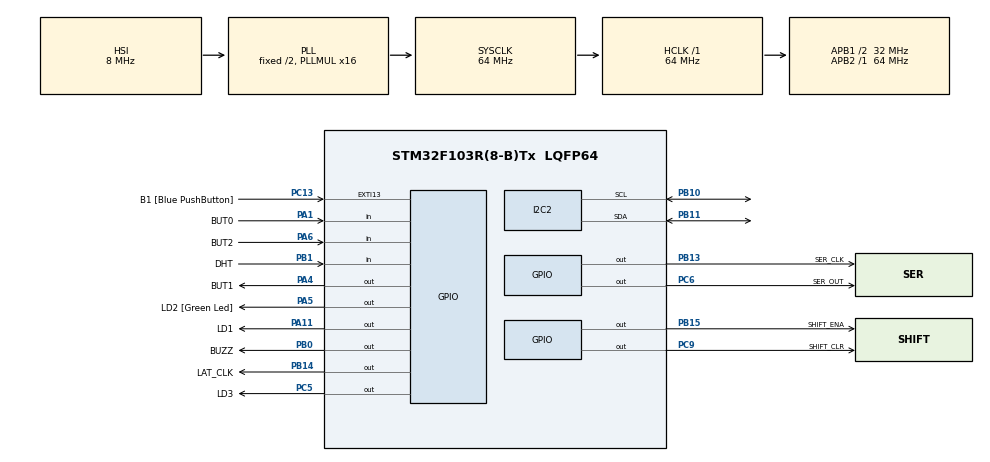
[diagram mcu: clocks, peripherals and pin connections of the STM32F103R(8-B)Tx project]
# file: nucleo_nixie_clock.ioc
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FREERTOS.HEAP_NUMBER=1
FREERTOS.MEMORY_ALLOCATION=2
FREERTOS.Tasks01=defaultTask,0,128,StartDefaultTask,Default,NULL,Dynamic,NULL,NULL;render_tasl,-1,128,render_task_callback,Default,NULL,Dynamic,NULL,NULL;buttons_listene,0,128,buttons_listener_callback,Default,NULL,Dynamic,NULL,NULL
FREERTOS.configMINIMAL_STACK_SIZE=64
FREERTOS.configTIMER_TASK_PRIORITY=4
FREERTOS.configTOTAL_HEAP_SIZE=10000
FREERTOS.configUSE_TIMERS=1
Mcu.Family=STM32F1
Mcu.Name=STM32F103R(8-B)Tx
Mcu.Package=LQFP64
NVIC.EXTI15_10_IRQn=true\:5\:0\:false\:false\:true\:true\:true
NVIC.PriorityGroup=NVIC_PRIORITYGROUP_4
NVIC.TIM1_UP_IRQn=true\:0\:0\:false\:false\:true\:false\:false
NVIC.TimeBase=TIM1_UP_IRQn
NVIC.TimeBaseIP=TIM1
PA1.GPIO_Label=BUT0
PA1.Signal=GPIO_Input
PA11.GPIO_Label=LD1
PA11.Signal=GPIO_Output
PA13.GPIO_Label=TMS
PA13.Mode=Serial_Wire
PA13.Signal=SYS_JTMS-SWDIO
PA14.GPIO_Label=TCK
PA14.Mode=Serial_Wire
PA14.Signal=SYS_JTCK-SWCLK
PA2.GPIO_Label=USART_TX
PA2.GPIO_Mode=GPIO_MODE_AF_PP
PA2.GPIO_PuPd=GPIO_NOPULL
PA2.GPIO_Speed=GPIO_SPEED_FREQ_LOW
PA2.Signal=USART2_TX
PA3.Signal=USART2_RX
PA4.GPIO_Label=BUT1
PA4.Signal=GPIO_Output
PA5.GPIO_Label=LD2 [Green Led]
PA5.GPIO_ModeDefaultOutputPP=GPIO_MODE_OUTPUT_PP
PA5.GPIO_PuPd=GPIO_NOPULL
PA5.GPIO_Speed=GPIO_SPEED_FREQ_LOW
PA5.Signal=GPIO_Output
PA6.GPIO_Label=BUT2
PA6.Signal=GPIO_Input
PB0.GPIO_Label=BUZZ
PB0.Signal=GPIO_Output
PB1.GPIO_Label=DHT
PB1.Signal=GPIO_Input
PB10.Mode=I2C
PB10.Signal=I2C2_SCL
PB11.Mode=I2C
PB11.Signal=I2C2_SDA
PB13.GPIO_Label=SER_CLK
PB13.Signal=GPIO_Output
PB14.GPIO_Label=LAT_CLK
PB14.Signal=GPIO_Output
PB15.GPIO_Label=SHIFT_ENA
PB15.Signal=GPIO_Output
PB3.GPIO_Label=SWO
PB3.Signal=SYS_JTDO-TRACESWO
PC13-TAMPER-RTC.GPIO_Label=B1 [Blue PushButton]
PC13-TAMPER-RTC.GPIO_ModeDefaultEXTI=GPIO_MODE_IT_FALLING
PC13-TAMPER-RTC.GPIO_PuPd=GPIO_NOPULL
PC13-TAMPER-RTC.Signal=GPXTI13
PC14-OSC32_IN.Signal=RCC_OSC32_IN
PC15-OSC32_OUT.Signal=RCC_OSC32_OUT
PC5.GPIO_Label=LD3
PC5.Signal=GPIO_Output
PC6.GPIO_Label=SER_OUT
PC6.Signal=GPIO_Output
PC9.GPIO_Label=SHIFT_CLR
PC9.Signal=GPIO_Output
PD0-OSC_IN.Signal=RCC_OSC_IN
PD1-OSC_OUT.Signal=RCC_OSC_OUT
ProjectManager.HeapSize=0x200
ProjectManager.StackSize=0x400
ProjectManager.TargetToolchain=SW4STM32
RCC.AHBFreq_Value=64000000
RCC.APB1CLKDivider=RCC_HCLK_DIV2
RCC.APB1Freq_Value=32000000
RCC.APB1TimFreq_Value=64000000
RCC.APB2Freq_Value=64000000
RCC.APB2TimFreq_Value=64000000
RCC.HCLKFreq_Value=64000000
RCC.PLLMUL=RCC_PLL_MUL16
RCC.SYSCLKFreq_VALUE=64000000
RCC.SYSCLKSource=RCC_SYSCLKSOURCE_PLLCLK
RCC.USBFreq_Value=64000000
VP_FREERTOS_VS_ENABLE.Mode=Enabled
VP_SYS_VS_tim1.Mode=TIM1
board=NUCLEO-F103RB

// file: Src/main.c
/**
  ******************************************************************************
  * File Name          : main.c
  * Description        : Main program body
  ******************************************************************************
  * This notice applies to any and all portions of this file
  * that are not between comment pairs USER CODE BEGIN and
  * USER CODE END. Other portions of this file, whether
  * inserted by the user or by software development tools
  * are owned by their respective copyright owners.
  *
  * Copyright (c) 2017 STMicroelectronics International N.V.
  * All rights reserved.
  *
  * Redistribution and use in source and binary forms, with or without
  * modification, are permitted, provided that the following conditions are met:
  *
  * 1. Redistribution of source code must retain the above copyright notice,
  *    this list of conditions and the following disclaimer.
  * 2. Redistributions in binary form must reproduce the above copyright notice,
  *    this list of conditions and the following disclaimer in the documentation
  *    and/or other materials provided with the distribution.
  * 3. Neither the name of STMicroelectronics nor the names of other
  *    contributors to this software may be used to endorse or promote products
  *    derived from this software without specific written permission.
  * 4. This software, including modifications and/or derivative works of this
  *    software, must execute solely and exclusively on microcontroller or
  *    microprocessor devices manufactured by or for STMicroelectronics.
  * 5. Redistribution and use of this software other than as permitted under
  *    this license is void and will automatically terminate your rights under
  *    this license.
  *
  * THIS SOFTWARE IS PROVIDED BY STMICROELECTRONICS AND CONTRIBUTORS "AS IS"
  * AND ANY EXPRESS, IMPLIED OR STATUTORY WARRANTIES, INCLUDING, BUT NOT
  * LIMITED TO, THE IMPLIED WARRANTIES OF MERCHANTABILITY, FITNESS FOR A
  * PARTICULAR PURPOSE AND NON-INFRINGEMENT OF THIRD PARTY INTELLECTUAL PROPERTY
  * RIGHTS ARE DISCLAIMED TO THE FULLEST EXTENT PERMITTED BY LAW. IN NO EVENT
  * SHALL STMICROELECTRONICS OR CONTRIBUTORS BE LIABLE FOR ANY DIRECT, INDIRECT,
  * INCIDENTAL, SPECIAL, EXEMPLARY, OR CONSEQUENTIAL DAMAGES (INCLUDING, BUT NOT
  * LIMITED TO, PROCUREMENT OF SUBSTITUTE GOODS OR SERVICES; LOSS OF USE, DATA,
  * OR PROFITS; OR BUSINESS INTERRUPTION) HOWEVER CAUSED AND ON ANY THEORY OF
  * LIABILITY, WHETHER IN CONTRACT, STRICT LIABILITY, OR TORT (INCLUDING
  * NEGLIGENCE OR OTHERWISE) ARISING IN ANY WAY OUT OF THE USE OF THIS SOFTWARE,
  * EVEN IF ADVISED OF THE POSSIBILITY OF SUCH DAMAGE.
  *
  ******************************************************************************
  */
#include "main.h"
#include "stm32f1xx_hal.h"
#include "cmsis_os.h"

/* USER CODE BEGIN Includes */
//EXTERNS
#include "externs.h"
//TIMERS
#include "my_timers.h"
//RTC
#include "ds3231.h"
//LCD
#include "ssd1306.h"
#include "render.h"
//BUTTONS
#include "buttons.h"
/* USER CODE END Includes */

I2C_HandleTypeDef hi2c2;

osThreadId defaultTaskHandle;
osThreadId render_taslHandle;
osThreadId buttons_listeneHandle;

/* USER CODE BEGIN PV */
/* Private variables ---------------------------------------------------------*/
//TASKS
osThreadId ButtonListenerTaskHandle;
osThreadId ScreenRenderTaskHandle;

//TIMERS
osTimerId set_blink_timerHandle;
TimerHandle_t blink_timer;
osSemaphoreId set_blink_semaphoreHandle;

//LCD
SSD1306_device_t* LCD;
/* USER CODE END PV */

void SystemClock_Config(void);
static void MX_GPIO_Init(void);
static void MX_I2C2_Init(void);
void StartDefaultTask(void const * argument);
void render_task_callback(void const * argument);
void buttons_listener_callback(void const * argument);

/* USER CODE BEGIN PFP */
/* Private function prototypes -----------------------------------------------*/

/* USER CODE END PFP */

int main(void)
{

  /* MCU Configuration----------------------------------------------------------*/

  /* Reset of all peripherals, Initializes the Flash interface and the Systick. */
  HAL_Init();

  /* Configure the system clock */
  SystemClock_Config();

  /* Initialize all configured peripherals */
  MX_GPIO_Init();
  MX_I2C2_Init();

  /* USER CODE BEGIN 2 */

  //RTC
	ds3231_time_t testTime = {
		.twelve_hour = TRUE,
		.sec = 55,
		.min = 59,
		.hour = 11,
		.pm = PM,
		.week_day = 5,
		.date = 31,
		.month = 12,
		.year = 2017
	};
	DS3231_set_time(&hi2c2, &testTime);

	HAL_Delay(2000);

	ds3231_time_t test_return_time;

	DS3231_get_time(&hi2c2, &test_return_time);

	//LCD
	SSD1306_device_init_t LCD_init_dev =
		{ .background = White, .width = 128, .height = 64, .port = &hi2c2, .font =
				&Font_11x18, };
	LCD = ssd1306_init(&LCD_init_dev);

	LCD->clear_wo_update(LCD);
	LCD->cursor(LCD, 23, 23);
	LCD->string(LCD, "supppp");
	LCD->update(LCD);

	//BUTTONS
//	ButtonsInit();

  /* USER CODE END 2 */

  /* USER CODE BEGIN RTOS_SEMAPHORES */
  /* add semaphores, ... */
	  osSemaphoreDef(set_blink_semaphore);
	  set_blink_semaphoreHandle = osSemaphoreCreate(osSemaphore(set_blink_semaphore), 1);
  /* USER CODE END RTOS_SEMAPHORES */

  /* USER CODE BEGIN RTOS_TIMERS */
  /* start timers, add new ones, ... */
//	osTimerDef(set_blink_timer, set_blink_timer_callback);
//	set_blink_timerHandle = osTimerCreate(osTimer(set_blink_timer), osTimerPeriodic, NULL);
//
//	blink_timer = xTimerCreate("blinkTimer", 1000, pdTRUE, 1, set_blink_timer_callback);
//	xTimerStart(blink_timer,0);
  /* USER CODE END RTOS_TIMERS */

  /* Create the thread(s) */
  /* definition and creation of defaultTask */
  osThreadDef(defaultTask, StartDefaultTask, osPriorityNormal, 0, 128);
  defaultTaskHandle = osThreadCreate(osThread(defaultTask), NULL);

  /* definition and creation of render_tasl */
  osThreadDef(render_tasl, render_task_callback, osPriorityBelowNormal, 0, 128);
  render_taslHandle = osThreadCreate(osThread(render_tasl), NULL);

  /* definition and creation of buttons_listene */
  osThreadDef(buttons_listene, buttons_listener_callback, osPriorityNormal, 0, 128);
  buttons_listeneHandle = osThreadCreate(osThread(buttons_listene), NULL);

  /* USER CODE BEGIN RTOS_THREADS */
  /* add threads, ... */
//	osThreadDef(ButtonListener, ButtonListenerTask, osPriorityLow, 0, 56);
//	ButtonListenerTaskHandle = osThreadCreate(osThread(ButtonListener), NULL);

//	osThreadDef(ScreenRender, ScreenRenderTask, osPriorityNormal, 0, 12);
//	ScreenRenderTaskHandle = osThreadCreate(osThread(ScreenRender), NULL);
  /* USER CODE END RTOS_THREADS */

  /* Start scheduler */
  osKernelStart();

  /* We should never get here as control is now taken by the scheduler */

  /* Infinite loop */
  while (1)
  {

  }

}

/** System Clock Configuration
*/
void SystemClock_Config(void)
{

  RCC_OscInitTypeDef RCC_OscInitStruct;
  RCC_ClkInitTypeDef RCC_ClkInitStruct;

    /**Initializes the CPU, AHB and APB busses clocks
    */
  RCC_OscInitStruct.OscillatorType = RCC_OSCILLATORTYPE_HSI;
  RCC_OscInitStruct.HSIState = RCC_HSI_ON;
  RCC_OscInitStruct.HSICalibrationValue = 16;
  RCC_OscInitStruct.PLL.PLLState = RCC_PLL_ON;
  RCC_OscInitStruct.PLL.PLLSource = RCC_PLLSOURCE_HSI_DIV2;
  RCC_OscInitStruct.PLL.PLLMUL = RCC_PLL_MUL16;
  if (HAL_RCC_OscConfig(&RCC_OscInitStruct) != HAL_OK)
  {
    _Error_Handler(__FILE__, __LINE__);
  }

    /**Initializes the CPU, AHB and APB busses clocks
    */
  RCC_ClkInitStruct.ClockType = RCC_CLOCKTYPE_HCLK|RCC_CLOCKTYPE_SYSCLK
                              |RCC_CLOCKTYPE_PCLK1|RCC_CLOCKTYPE_PCLK2;
  RCC_ClkInitStruct.SYSCLKSource = RCC_SYSCLKSOURCE_PLLCLK;
  RCC_ClkInitStruct.AHBCLKDivider = RCC_SYSCLK_DIV1;
  RCC_ClkInitStruct.APB1CLKDivider = RCC_HCLK_DIV2;
  RCC_ClkInitStruct.APB2CLKDivider = RCC_HCLK_DIV1;

  if (HAL_RCC_ClockConfig(&RCC_ClkInitStruct, FLASH_LATENCY_2) != HAL_OK)
  {
    _Error_Handler(__FILE__, __LINE__);
  }

    /**Configure the Systick interrupt time
    */
  HAL_SYSTICK_Config(HAL_RCC_GetHCLKFreq()/1000);

    /**Configure the Systick
    */
  HAL_SYSTICK_CLKSourceConfig(SYSTICK_CLKSOURCE_HCLK);

  /* SysTick_IRQn interrupt configuration */
  HAL_NVIC_SetPriority(SysTick_IRQn, 15, 0);
}

/* I2C2 init function */
static void MX_I2C2_Init(void)
{

  hi2c2.Instance = I2C2;
  hi2c2.Init.ClockSpeed = 100000;
  hi2c2.Init.DutyCycle = I2C_DUTYCYCLE_2;
  hi2c2.Init.OwnAddress1 = 0;
  hi2c2.Init.AddressingMode = I2C_ADDRESSINGMODE_7BIT;
  hi2c2.Init.DualAddressMode = I2C_DUALADDRESS_DISABLE;
  hi2c2.Init.OwnAddress2 = 0;
  hi2c2.Init.GeneralCallMode = I2C_GENERALCALL_DISABLE;
  hi2c2.Init.NoStretchMode = I2C_NOSTRETCH_DISABLE;
  if (HAL_I2C_Init(&hi2c2) != HAL_OK)
  {
    _Error_Handler(__FILE__, __LINE__);
  }

}

/** Configure pins as
        * Analog
        * Input
        * Output
        * EVENT_OUT
        * EXTI
     PA2   ------> USART2_TX
     PA3   ------> USART2_RX
*/
static void MX_GPIO_Init(void)
{

  GPIO_InitTypeDef GPIO_InitStruct;

  /* GPIO Ports Clock Enable */
  __HAL_RCC_GPIOC_CLK_ENABLE();
  __HAL_RCC_GPIOD_CLK_ENABLE();
  __HAL_RCC_GPIOA_CLK_ENABLE();
  __HAL_RCC_GPIOB_CLK_ENABLE();

  /*Configure GPIO pin Output Level */
  HAL_GPIO_WritePin(GPIOA, BUT1_Pin|LD2_Pin|LD1_Pin, GPIO_PIN_RESET);

  /*Configure GPIO pin Output Level */
  HAL_GPIO_WritePin(GPIOC, LD3_Pin|SER_OUT_Pin|SHIFT_CLR_Pin, GPIO_PIN_RESET);

  /*Configure GPIO pin Output Level */
  HAL_GPIO_WritePin(GPIOB, BUZZ_Pin|SER_CLK_Pin|LAT_CLK_Pin|SHIFT_ENA_Pin, GPIO_PIN_RESET);

  /*Configure GPIO pin : B1_Pin */
  GPIO_InitStruct.Pin = B1_Pin;
  GPIO_InitStruct.Mode = GPIO_MODE_IT_FALLING;
  GPIO_InitStruct.Pull = GPIO_NOPULL;
  HAL_GPIO_Init(B1_GPIO_Port, &GPIO_InitStruct);

  /*Configure GPIO pins : BUT0_Pin BUT2_Pin */
  GPIO_InitStruct.Pin = BUT0_Pin|BUT2_Pin;
  GPIO_InitStruct.Mode = GPIO_MODE_INPUT;
  GPIO_InitStruct.Pull = GPIO_NOPULL;
  HAL_GPIO_Init(GPIOA, &GPIO_InitStruct);

  /*Configure GPIO pin : USART_TX_Pin */
  GPIO_InitStruct.Pin = USART_TX_Pin;
  GPIO_InitStruct.Mode = GPIO_MODE_AF_PP;
  GPIO_InitStruct.Speed = GPIO_SPEED_FREQ_LOW;
  HAL_GPIO_Init(USART_TX_GPIO_Port, &GPIO_InitStruct);

  /*Configure GPIO pin : PA3 */
  GPIO_InitStruct.Pin = GPIO_PIN_3;
  GPIO_InitStruct.Mode = GPIO_MODE_INPUT;
  GPIO_InitStruct.Pull = GPIO_NOPULL;
  HAL_GPIO_Init(GPIOA, &GPIO_InitStruct);

  /*Configure GPIO pins : BUT1_Pin LD2_Pin LD1_Pin */
  GPIO_InitStruct.Pin = BUT1_Pin|LD2_Pin|LD1_Pin;
  GPIO_InitStruct.Mode = GPIO_MODE_OUTPUT_PP;
  GPIO_InitStruct.Speed = GPIO_SPEED_FREQ_LOW;
  HAL_GPIO_Init(GPIOA, &GPIO_InitStruct);

  /*Configure GPIO pins : LD3_Pin SER_OUT_Pin SHIFT_CLR_Pin */
  GPIO_InitStruct.Pin = LD3_Pin|SER_OUT_Pin|SHIFT_CLR_Pin;
  GPIO_InitStruct.Mode = GPIO_MODE_OUTPUT_PP;
  GPIO_InitStruct.Speed = GPIO_SPEED_FREQ_LOW;
  HAL_GPIO_Init(GPIOC, &GPIO_InitStruct);

  /*Configure GPIO pins : BUZZ_Pin SER_CLK_Pin LAT_CLK_Pin SHIFT_ENA_Pin */
  GPIO_InitStruct.Pin = BUZZ_Pin|SER_CLK_Pin|LAT_CLK_Pin|SHIFT_ENA_Pin;
  GPIO_InitStruct.Mode = GPIO_MODE_OUTPUT_PP;
  GPIO_InitStruct.Speed = GPIO_SPEED_FREQ_LOW;
  HAL_GPIO_Init(GPIOB, &GPIO_InitStruct);

  /*Configure GPIO pin : DHT_Pin */
  GPIO_InitStruct.Pin = DHT_Pin;
  GPIO_InitStruct.Mode = GPIO_MODE_INPUT;
  GPIO_InitStruct.Pull = GPIO_NOPULL;
  HAL_GPIO_Init(DHT_GPIO_Port, &GPIO_InitStruct);

  /* EXTI interrupt init*/
  HAL_NVIC_SetPriority(EXTI15_10_IRQn, 5, 0);
  HAL_NVIC_EnableIRQ(EXTI15_10_IRQn);

}

/* StartDefaultTask function */
void StartDefaultTask(void const * argument)
{

  /* USER CODE BEGIN 5 */
  /* Infinite loop */

//	int i = 0;

  for(;;)
  {
//	if(i % 2)
//		HAL_GPIO_TogglePin(LD1_GPIO_Port, LD1_Pin);
//
//	if(i % 3)
//		HAL_GPIO_TogglePin(LD2_GPIO_Port, LD2_Pin);
//
	HAL_GPIO_TogglePin(LD3_GPIO_Port, LD3_Pin);
//
//	i++;
//
	osDelay(500);
  }
  /* USER CODE END 5 */
}

/* render_task_callback function */
//void render_task_callback(void const * argument)
//{
//  /* USER CODE BEGIN render_task_callback */
////  /* Infinite loop */
////  for(;;)
////  {
////	LCD->clear_wo_update(LCD);
////	LCD->cursor(LCD, 23, 23);
////	LCD->string(LCD, "in render");
////	LCD->update(LCD);
////    osDelay(1);
////  }
//  /* USER CODE END render_task_callback */
//}

/* buttons_listener_callback function */
//void buttons_listener_callback(void const * argument)
//{
//  /* USER CODE BEGIN buttons_listener_callback */
////  /* Infinite loop */
////  for(;;)
////  {
////    osDelay(1);
////  }
//  /* USER CODE END buttons_listener_callback */
//}

void HAL_TIM_PeriodElapsedCallback(TIM_HandleTypeDef *htim)
{
  if (htim->Instance == TIM1) {
    HAL_IncTick();
  }
}

void _Error_Handler(char * file, int line)
{
  while(1)
  {
  }
}

/************************ (C) COPYRIGHT STMicroelectronics *****END OF FILE****/

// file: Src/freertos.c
/**
  ******************************************************************************
  * File Name          : freertos.c
  * Description        : Code for freertos applications
  ******************************************************************************
  * This notice applies to any and all portions of this file
  * that are not between comment pairs USER CODE BEGIN and
  * USER CODE END. Other portions of this file, whether
  * inserted by the user or by software development tools
  * are owned by their respective copyright owners.
  *
  * Copyright (c) 2017 STMicroelectronics International N.V.
  * All rights reserved.
  *
  * Redistribution and use in source and binary forms, with or without
  * modification, are permitted, provided that the following conditions are met:
  *
  * 1. Redistribution of source code must retain the above copyright notice,
  *    this list of conditions and the following disclaimer.
  * 2. Redistributions in binary form must reproduce the above copyright notice,
  *    this list of conditions and the following disclaimer in the documentation
  *    and/or other materials provided with the distribution.
  * 3. Neither the name of STMicroelectronics nor the names of other
  *    contributors to this software may be used to endorse or promote products
  *    derived from this software without specific written permission.
  * 4. This software, including modifications and/or derivative works of this
  *    software, must execute solely and exclusively on microcontroller or
  *    microprocessor devices manufactured by or for STMicroelectronics.
  * 5. Redistribution and use of this software other than as permitted under
  *    this license is void and will automatically terminate your rights under
  *    this license.
  *
  * THIS SOFTWARE IS PROVIDED BY STMICROELECTRONICS AND CONTRIBUTORS "AS IS"
  * AND ANY EXPRESS, IMPLIED OR STATUTORY WARRANTIES, INCLUDING, BUT NOT
  * LIMITED TO, THE IMPLIED WARRANTIES OF MERCHANTABILITY, FITNESS FOR A
  * PARTICULAR PURPOSE AND NON-INFRINGEMENT OF THIRD PARTY INTELLECTUAL PROPERTY
  * RIGHTS ARE DISCLAIMED TO THE FULLEST EXTENT PERMITTED BY LAW. IN NO EVENT
  * SHALL STMICROELECTRONICS OR CONTRIBUTORS BE LIABLE FOR ANY DIRECT, INDIRECT,
  * INCIDENTAL, SPECIAL, EXEMPLARY, OR CONSEQUENTIAL DAMAGES (INCLUDING, BUT NOT
  * LIMITED TO, PROCUREMENT OF SUBSTITUTE GOODS OR SERVICES; LOSS OF USE, DATA,
  * OR PROFITS; OR BUSINESS INTERRUPTION) HOWEVER CAUSED AND ON ANY THEORY OF
  * LIABILITY, WHETHER IN CONTRACT, STRICT LIABILITY, OR TORT (INCLUDING
  * NEGLIGENCE OR OTHERWISE) ARISING IN ANY WAY OUT OF THE USE OF THIS SOFTWARE,
  * EVEN IF ADVISED OF THE POSSIBILITY OF SUCH DAMAGE.
  *
  ******************************************************************************
  */

#include "FreeRTOS.h"
#include "task.h"

/* GetIdleTaskMemory prototype (linked to static allocation support) */
void vApplicationGetIdleTaskMemory( StaticTask_t **ppxIdleTaskTCBBuffer, StackType_t **ppxIdleTaskStackBuffer, uint32_t *pulIdleTaskStackSize );

/* GetTimerTaskMemory prototype (linked to static allocation support) */
void vApplicationGetTimerTaskMemory( StaticTask_t **ppxTimerTaskTCBBuffer, StackType_t **ppxTimerTaskStackBuffer, uint32_t *pulTimerTaskStackSize );

/* Hook prototypes */

/* USER CODE BEGIN GET_IDLE_TASK_MEMORY */
static StaticTask_t xIdleTaskTCBBuffer;
static StackType_t xIdleStack[configMINIMAL_STACK_SIZE];

void vApplicationGetIdleTaskMemory( StaticTask_t **ppxIdleTaskTCBBuffer, StackType_t **ppxIdleTaskStackBuffer, uint32_t *pulIdleTaskStackSize )
{
  *ppxIdleTaskTCBBuffer = &xIdleTaskTCBBuffer;
  *ppxIdleTaskStackBuffer = &xIdleStack[0];
  *pulIdleTaskStackSize = configMINIMAL_STACK_SIZE;
  /* place for user code */
}
/* USER CODE END GET_IDLE_TASK_MEMORY */

/* USER CODE BEGIN GET_TIMER_TASK_MEMORY */
static StaticTask_t xTimerTaskTCBBuffer;
static StackType_t xTimerStack[configTIMER_TASK_STACK_DEPTH];

void vApplicationGetTimerTaskMemory( StaticTask_t **ppxTimerTaskTCBBuffer, StackType_t **ppxTimerTaskStackBuffer, uint32_t *pulTimerTaskStackSize )
{
  *ppxTimerTaskTCBBuffer = &xTimerTaskTCBBuffer;
  *ppxTimerTaskStackBuffer = &xTimerStack[0];
  *pulTimerTaskStackSize = configTIMER_TASK_STACK_DEPTH;
  /* place for user code */
}
/* USER CODE END GET_TIMER_TASK_MEMORY */

/************************ (C) COPYRIGHT STMicroelectronics *****END OF FILE****/
